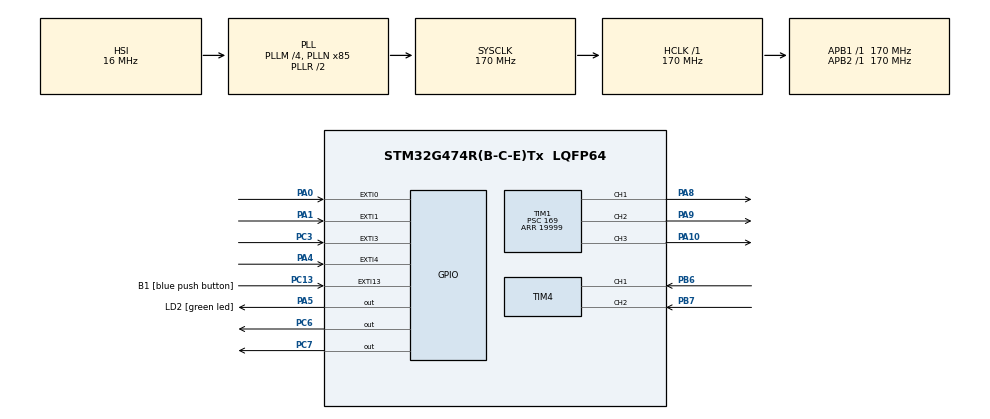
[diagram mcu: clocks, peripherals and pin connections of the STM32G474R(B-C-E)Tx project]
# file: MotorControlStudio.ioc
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ARM.CMSIS-DSP.1.15.0.CMSISJjDSP=Source
ARM.CMSIS.6.0.0.CMSISJjCORE=true
Mcu.Family=STM32G4
Mcu.Name=STM32G474R(B-C-E)Tx
Mcu.Package=LQFP64
NVIC.EXTI15_10_IRQn=true\:0\:0\:false\:false\:true\:true\:true\:true
NVIC.PriorityGroup=NVIC_PRIORITYGROUP_4
NVIC.TIM2_IRQn=true\:0\:0\:false\:false\:true\:true\:true\:true
NVIC.TIM4_IRQn=true\:0\:0\:false\:false\:true\:true\:true\:true
NVIC.TIM5_IRQn=true\:0\:0\:false\:false\:true\:true\:true\:true
PA0.Signal=GPXTI0
PA1.Signal=GPXTI1
PA10.Signal=S_TIM1_CH3
PA13.GPIO_Label=T_SWDIO
PA13.Signal=SYS_JTMS-SWDIO
PA14.GPIO_Label=T_SWCLK
PA14.Signal=SYS_JTCK-SWCLK
PA2.GPIO_Label=LPUART1_TX [STLINKV3E_VCP_RX]
PA2.Signal=LPUART1_TX
PA3.GPIO_Label=LPUART1_RX [STLINKV3E_VCP_TX]
PA3.Signal=LPUART1_RX
PA4.Signal=GPXTI4
PA5.GPIO_Label=LD2 [green led]
PA5.Signal=GPIO_Output
PA8.Signal=S_TIM1_CH1
PA9.Signal=S_TIM1_CH2
PB3.GPIO_Label=T_SWO
PB3.Signal=SYS_JTDO-SWO
PB6.Signal=S_TIM4_CH1
PB7.Signal=S_TIM4_CH2
PC13.GPIO_Label=B1 [blue push button]
PC13.Signal=GPXTI13
PC14-OSC32_IN.GPIO_Label=RCC_OSC32_IN
PC14-OSC32_IN.Signal=RCC_OSC32_IN
PC15-OSC32_OUT.GPIO_Label=RCC_OSC32_OUT
PC15-OSC32_OUT.Signal=RCC_OSC32_OUT
PC3.Signal=GPXTI3
PC6.Signal=GPIO_Output
PC7.Signal=GPIO_Output
PF0-OSC_IN.GPIO_Label=RCC_OSC_IN
PF0-OSC_IN.Signal=RCC_OSC_IN
PF1-OSC_OUT.GPIO_Label=RCC_OSC_OUT
PF1-OSC_OUT.Signal=RCC_OSC_OUT
ProjectManager.HeapSize=0x200
ProjectManager.StackSize=0x400
ProjectManager.TargetToolchain=STM32CubeIDE
RCC.ADC12Freq_Value=170000000
RCC.ADC345Freq_Value=170000000
RCC.AHBFreq_Value=170000000
RCC.APB1Freq_Value=170000000
RCC.APB1TimFreq_Value=170000000
RCC.APB2Freq_Value=170000000
RCC.APB2TimFreq_Value=170000000
RCC.CortexFreq_Value=170000000
RCC.EXTERNAL_CLOCK_VALUE=12288000
RCC.HCLKFreq_Value=170000000
RCC.HSE_VALUE=24000000
RCC.HSI48_VALUE=48000000
RCC.HSI_VALUE=16000000
RCC.LSE_VALUE=32768
RCC.PLLM=RCC_PLLM_DIV4
RCC.PLLN=85
RCC.RTCClockSelection=RCC_RTCCLKSOURCE_LSE
RCC.SYSCLKFreq_VALUE=170000000
RCC.SYSCLKSource=RCC_SYSCLKSOURCE_PLLCLK
RCC.USBFreq_Value=170000000
RCC.VCOOutputFreq_Value=340000000
SH.S_TIM1_CH1.0=TIM1_CH1,PWM Generation1 CH1
SH.S_TIM1_CH2.0=TIM1_CH2,PWM Generation2 CH2
SH.S_TIM1_CH3.0=TIM1_CH3,PWM Generation3 CH3
SH.S_TIM4_CH1.0=TIM4_CH1,Encoder_Interface
SH.S_TIM4_CH2.0=TIM4_CH2,Encoder_Interface
TIM1.Channel-PWM\ Generation1\ CH1=TIM_CHANNEL_1
TIM1.Channel-PWM\ Generation2\ CH2=TIM_CHANNEL_2
TIM1.Channel-PWM\ Generation3\ CH3=TIM_CHANNEL_3
TIM1.PeriodNoDither=19999
TIM1.Prescaler=169
TIM2.PeriodNoDither=999
TIM2.Prescaler=169
TIM4.EncoderMode=TIM_ENCODERMODE_TI12
TIM5.Prescaler=169
VP_ARM.CMSIS-DSP_VS_CMSISJjDSP_1.15.0_1.15.0.Mode=CMSISJjDSP
VP_ARM.CMSIS_VS_CMSISJjCORE_6.0.0_6.0.0.Mode=CMSISJjCORE
VP_SYS_VS_DBSignals.Mode=DisableDeadBatterySignals
VP_TIM1_VS_ClockSourceINT.Mode=Internal
VP_TIM2_VS_ClockSourceINT.Mode=Internal
VP_TIM5_VS_ClockSourceINT.Mode=Internal
board=NUCLEO-G474RE

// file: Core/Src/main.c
/* USER CODE BEGIN Header */
/**
 ******************************************************************************
 * @file           : main.c
 * @brief          : Main program body
 ******************************************************************************
 * @attention
 *
 * Copyright (c) 2025 STMicroelectronics.
 * All rights reserved.
 *
 * This software is licensed under terms that can be found in the LICENSE file
 * in the root directory of this software component.
 * If no LICENSE file comes with this software, it is provided AS-IS.
 *
 ******************************************************************************
 */
/* USER CODE END Header */
#include "main.h"

/* USER CODE BEGIN Includes */
#include "motor.h"
#include "arm_math.h"
#include "QEI.h"
#include "PID.h"
#include "Kalman.h"
/* USER CODE END Includes */

TIM_HandleTypeDef htim1;
TIM_HandleTypeDef htim2;
TIM_HandleTypeDef htim4;
TIM_HandleTypeDef htim5;

/* USER CODE BEGIN PV */
MOTOR prismatic_motor;
MOTOR revolute_motor;

float target_position = 0.0; // [rad/s] ตัวอย่างค่าที่เราต้องการ

// PID_Velocity gain
float Kp_velo = 75.0;
float Ki_velo = 7.0;
float Kd_velo = 0.0;
float output_velo = 0.00;
float error_velo = 0.00;

// PID_Position gain
float Kp_pos = 8.0;
float Ki_pos = 0.001;
float Kd_pos = 2.5;
float output_pos = 0.00;
float error_pos = 0.00;
//PID_Position CMSIS
arm_pid_instance_f32 PID_POS = { 0 };

int32_t setpoint = 0;

QEI prismatic_encoder;
CONTROLLER prismatic_pos_control;
CONTROLLER prismatic_vel_control;
KALMAN prismatic_kalman;

float32_t A_f32[16] = { 1.0, 0.001, -0.0453, -0.0001, 0.0, 0.9740, -90.2495,
		0.0587, 0.0, 0.0, 1.0, 0.0, 0.0, -0.02, 1.7666, -0.0012 };

float32_t B_f32[4] = { 0.0003, 0.6895, 0.0, 0.5453 };

double kalman_rads;
double kalman_radps;

float Q = 1.0;
float R = 0.001;
float motor_voltage = 0.0;
float error_rads = 0.0;
/* USER CODE END PV */

void SystemClock_Config(void);
static void MX_GPIO_Init(void);
static void MX_TIM4_Init(void);
static void MX_TIM5_Init(void);
static void MX_TIM1_Init(void);
static void MX_TIM2_Init(void);
/* USER CODE BEGIN PFP */
//uint64_t micros();
//void QEIEncoderPosVel_Update();
//void CasCadeControl();
/* USER CODE END PFP */

int main(void)
{

  /* MCU Configuration--------------------------------------------------------*/

  /* Reset of all peripherals, Initializes the Flash interface and the Systick. */
  HAL_Init();

  /* Configure the system clock */
  SystemClock_Config();

  /* Initialize all configured peripherals */
  MX_GPIO_Init();
  MX_TIM4_Init();
  MX_TIM5_Init();
  MX_TIM1_Init();
  MX_TIM2_Init();
  /* USER CODE BEGIN 2 */
	PID_POS.Kp = Kp_pos;
	PID_POS.Ki = Ki_pos;
	PID_POS.Kd = Kd_pos;
	arm_pid_init_f32(&PID_POS, 0);

	MotorInit(&prismatic_motor, &htim1, TIM_CHANNEL_3, GPIOC, GPIO_PIN_7);
	MotorInit(&revolute_motor, &htim1, TIM_CHANNEL_2, GPIOC, GPIO_PIN_6);

	QEIInit(&prismatic_encoder, &htim4, 8192, 1000, 65536);
//	QEIInit(&revolute_motor, &htim3, 8192, 1000, 65536);

	PIDInit(&prismatic_pos_control, 340, -340);
	PIDInit(&prismatic_vel_control, 65535, -65535);

	KalmanInit(&prismatic_kalman, A_f32, B_f32, Q, R);

	HAL_TIM_Base_Start_IT(&htim5);

	HAL_TIM_Base_Start_IT(&htim2);

  /* USER CODE END 2 */

  /* Infinite loop */
	while (1) {

	}
}

void SystemClock_Config(void)
{
  RCC_OscInitTypeDef RCC_OscInitStruct = {0};
  RCC_ClkInitTypeDef RCC_ClkInitStruct = {0};

  /** Configure the main internal regulator output voltage
  */
  HAL_PWREx_ControlVoltageScaling(PWR_REGULATOR_VOLTAGE_SCALE1_BOOST);

  /** Initializes the RCC Oscillators according to the specified parameters
  * in the RCC_OscInitTypeDef structure.
  */
  RCC_OscInitStruct.OscillatorType = RCC_OSCILLATORTYPE_HSI;
  RCC_OscInitStruct.HSIState = RCC_HSI_ON;
  RCC_OscInitStruct.HSICalibrationValue = RCC_HSICALIBRATION_DEFAULT;
  RCC_OscInitStruct.PLL.PLLState = RCC_PLL_ON;
  RCC_OscInitStruct.PLL.PLLSource = RCC_PLLSOURCE_HSI;
  RCC_OscInitStruct.PLL.PLLM = RCC_PLLM_DIV4;
  RCC_OscInitStruct.PLL.PLLN = 85;
  RCC_OscInitStruct.PLL.PLLP = RCC_PLLP_DIV2;
  RCC_OscInitStruct.PLL.PLLQ = RCC_PLLQ_DIV2;
  RCC_OscInitStruct.PLL.PLLR = RCC_PLLR_DIV2;
  if (HAL_RCC_OscConfig(&RCC_OscInitStruct) != HAL_OK)
  {
    Error_Handler();
  }

  /** Initializes the CPU, AHB and APB buses clocks
  */
  RCC_ClkInitStruct.ClockType = RCC_CLOCKTYPE_HCLK|RCC_CLOCKTYPE_SYSCLK
                              |RCC_CLOCKTYPE_PCLK1|RCC_CLOCKTYPE_PCLK2;
  RCC_ClkInitStruct.SYSCLKSource = RCC_SYSCLKSOURCE_PLLCLK;
  RCC_ClkInitStruct.AHBCLKDivider = RCC_SYSCLK_DIV1;
  RCC_ClkInitStruct.APB1CLKDivider = RCC_HCLK_DIV1;
  RCC_ClkInitStruct.APB2CLKDivider = RCC_HCLK_DIV1;

  if (HAL_RCC_ClockConfig(&RCC_ClkInitStruct, FLASH_LATENCY_4) != HAL_OK)
  {
    Error_Handler();
  }
}

static void MX_TIM1_Init(void)
{

  TIM_ClockConfigTypeDef sClockSourceConfig = {0};
  TIM_MasterConfigTypeDef sMasterConfig = {0};
  TIM_OC_InitTypeDef sConfigOC = {0};
  TIM_BreakDeadTimeConfigTypeDef sBreakDeadTimeConfig = {0};

  htim1.Instance = TIM1;
  htim1.Init.Prescaler = 169;
  htim1.Init.CounterMode = TIM_COUNTERMODE_UP;
  htim1.Init.Period = 19999;
  htim1.Init.ClockDivision = TIM_CLOCKDIVISION_DIV1;
  htim1.Init.RepetitionCounter = 0;
  htim1.Init.AutoReloadPreload = TIM_AUTORELOAD_PRELOAD_DISABLE;
  if (HAL_TIM_Base_Init(&htim1) != HAL_OK)
  {
    Error_Handler();
  }
  sClockSourceConfig.ClockSource = TIM_CLOCKSOURCE_INTERNAL;
  if (HAL_TIM_ConfigClockSource(&htim1, &sClockSourceConfig) != HAL_OK)
  {
    Error_Handler();
  }
  if (HAL_TIM_PWM_Init(&htim1) != HAL_OK)
  {
    Error_Handler();
  }
  sMasterConfig.MasterOutputTrigger = TIM_TRGO_RESET;
  sMasterConfig.MasterOutputTrigger2 = TIM_TRGO2_RESET;
  sMasterConfig.MasterSlaveMode = TIM_MASTERSLAVEMODE_DISABLE;
  if (HAL_TIMEx_MasterConfigSynchronization(&htim1, &sMasterConfig) != HAL_OK)
  {
    Error_Handler();
  }
  sConfigOC.OCMode = TIM_OCMODE_PWM1;
  sConfigOC.Pulse = 0;
  sConfigOC.OCPolarity = TIM_OCPOLARITY_HIGH;
  sConfigOC.OCNPolarity = TIM_OCNPOLARITY_HIGH;
  sConfigOC.OCFastMode = TIM_OCFAST_DISABLE;
  sConfigOC.OCIdleState = TIM_OCIDLESTATE_RESET;
  sConfigOC.OCNIdleState = TIM_OCNIDLESTATE_RESET;
  if (HAL_TIM_PWM_ConfigChannel(&htim1, &sConfigOC, TIM_CHANNEL_1) != HAL_OK)
  {
    Error_Handler();
  }
  if (HAL_TIM_PWM_ConfigChannel(&htim1, &sConfigOC, TIM_CHANNEL_2) != HAL_OK)
  {
    Error_Handler();
  }
  if (HAL_TIM_PWM_ConfigChannel(&htim1, &sConfigOC, TIM_CHANNEL_3) != HAL_OK)
  {
    Error_Handler();
  }
  sBreakDeadTimeConfig.OffStateRunMode = TIM_OSSR_DISABLE;
  sBreakDeadTimeConfig.OffStateIDLEMode = TIM_OSSI_DISABLE;
  sBreakDeadTimeConfig.LockLevel = TIM_LOCKLEVEL_OFF;
  sBreakDeadTimeConfig.DeadTime = 0;
  sBreakDeadTimeConfig.BreakState = TIM_BREAK_DISABLE;
  sBreakDeadTimeConfig.BreakPolarity = TIM_BREAKPOLARITY_HIGH;
  sBreakDeadTimeConfig.BreakFilter = 0;
  sBreakDeadTimeConfig.BreakAFMode = TIM_BREAK_AFMODE_INPUT;
  sBreakDeadTimeConfig.Break2State = TIM_BREAK2_DISABLE;
  sBreakDeadTimeConfig.Break2Polarity = TIM_BREAK2POLARITY_HIGH;
  sBreakDeadTimeConfig.Break2Filter = 0;
  sBreakDeadTimeConfig.Break2AFMode = TIM_BREAK_AFMODE_INPUT;
  sBreakDeadTimeConfig.AutomaticOutput = TIM_AUTOMATICOUTPUT_DISABLE;
  if (HAL_TIMEx_ConfigBreakDeadTime(&htim1, &sBreakDeadTimeConfig) != HAL_OK)
  {
    Error_Handler();
  }
  HAL_TIM_MspPostInit(&htim1);

}

static void MX_TIM2_Init(void)
{

  TIM_ClockConfigTypeDef sClockSourceConfig = {0};
  TIM_MasterConfigTypeDef sMasterConfig = {0};

  htim2.Instance = TIM2;
  htim2.Init.Prescaler = 169;
  htim2.Init.CounterMode = TIM_COUNTERMODE_UP;
  htim2.Init.Period = 999;
  htim2.Init.ClockDivision = TIM_CLOCKDIVISION_DIV1;
  htim2.Init.AutoReloadPreload = TIM_AUTORELOAD_PRELOAD_DISABLE;
  if (HAL_TIM_Base_Init(&htim2) != HAL_OK)
  {
    Error_Handler();
  }
  sClockSourceConfig.ClockSource = TIM_CLOCKSOURCE_INTERNAL;
  if (HAL_TIM_ConfigClockSource(&htim2, &sClockSourceConfig) != HAL_OK)
  {
    Error_Handler();
  }
  sMasterConfig.MasterOutputTrigger = TIM_TRGO_RESET;
  sMasterConfig.MasterSlaveMode = TIM_MASTERSLAVEMODE_DISABLE;
  if (HAL_TIMEx_MasterConfigSynchronization(&htim2, &sMasterConfig) != HAL_OK)
  {
    Error_Handler();
  }

}

static void MX_TIM4_Init(void)
{

  TIM_Encoder_InitTypeDef sConfig = {0};
  TIM_MasterConfigTypeDef sMasterConfig = {0};

  htim4.Instance = TIM4;
  htim4.Init.Prescaler = 0;
  htim4.Init.CounterMode = TIM_COUNTERMODE_UP;
  htim4.Init.Period = 65535;
  htim4.Init.ClockDivision = TIM_CLOCKDIVISION_DIV1;
  htim4.Init.AutoReloadPreload = TIM_AUTORELOAD_PRELOAD_DISABLE;
  sConfig.EncoderMode = TIM_ENCODERMODE_TI12;
  sConfig.IC1Polarity = TIM_ICPOLARITY_RISING;
  sConfig.IC1Selection = TIM_ICSELECTION_DIRECTTI;
  sConfig.IC1Prescaler = TIM_ICPSC_DIV1;
  sConfig.IC1Filter = 0;
  sConfig.IC2Polarity = TIM_ICPOLARITY_RISING;
  sConfig.IC2Selection = TIM_ICSELECTION_DIRECTTI;
  sConfig.IC2Prescaler = TIM_ICPSC_DIV1;
  sConfig.IC2Filter = 0;
  if (HAL_TIM_Encoder_Init(&htim4, &sConfig) != HAL_OK)
  {
    Error_Handler();
  }
  sMasterConfig.MasterOutputTrigger = TIM_TRGO_RESET;
  sMasterConfig.MasterSlaveMode = TIM_MASTERSLAVEMODE_DISABLE;
  if (HAL_TIMEx_MasterConfigSynchronization(&htim4, &sMasterConfig) != HAL_OK)
  {
    Error_Handler();
  }

}

static void MX_TIM5_Init(void)
{

  TIM_ClockConfigTypeDef sClockSourceConfig = {0};
  TIM_MasterConfigTypeDef sMasterConfig = {0};

  htim5.Instance = TIM5;
  htim5.Init.Prescaler = 169;
  htim5.Init.CounterMode = TIM_COUNTERMODE_UP;
  htim5.Init.Period = 4294967295;
  htim5.Init.ClockDivision = TIM_CLOCKDIVISION_DIV1;
  htim5.Init.AutoReloadPreload = TIM_AUTORELOAD_PRELOAD_DISABLE;
  if (HAL_TIM_Base_Init(&htim5) != HAL_OK)
  {
    Error_Handler();
  }
  sClockSourceConfig.ClockSource = TIM_CLOCKSOURCE_INTERNAL;
  if (HAL_TIM_ConfigClockSource(&htim5, &sClockSourceConfig) != HAL_OK)
  {
    Error_Handler();
  }
  sMasterConfig.MasterOutputTrigger = TIM_TRGO_RESET;
  sMasterConfig.MasterSlaveMode = TIM_MASTERSLAVEMODE_DISABLE;
  if (HAL_TIMEx_MasterConfigSynchronization(&htim5, &sMasterConfig) != HAL_OK)
  {
    Error_Handler();
  }

}

static void MX_GPIO_Init(void)
{
  GPIO_InitTypeDef GPIO_InitStruct = {0};

  /* GPIO Ports Clock Enable */
  __HAL_RCC_GPIOC_CLK_ENABLE();
  __HAL_RCC_GPIOF_CLK_ENABLE();
  __HAL_RCC_GPIOA_CLK_ENABLE();
  __HAL_RCC_GPIOB_CLK_ENABLE();

  /*Configure GPIO pin Output Level */
  HAL_GPIO_WritePin(LD2_GPIO_Port, LD2_Pin, GPIO_PIN_RESET);

  /*Configure GPIO pin Output Level */
  HAL_GPIO_WritePin(GPIOC, GPIO_PIN_6|GPIO_PIN_7, GPIO_PIN_RESET);

  /*Configure GPIO pins : B1_Pin PC3 */
  GPIO_InitStruct.Pin = B1_Pin|GPIO_PIN_3;
  GPIO_InitStruct.Mode = GPIO_MODE_IT_RISING;
  GPIO_InitStruct.Pull = GPIO_NOPULL;
  HAL_GPIO_Init(GPIOC, &GPIO_InitStruct);

  /*Configure GPIO pins : PA0 PA1 PA4 */
  GPIO_InitStruct.Pin = GPIO_PIN_0|GPIO_PIN_1|GPIO_PIN_4;
  GPIO_InitStruct.Mode = GPIO_MODE_IT_RISING;
  GPIO_InitStruct.Pull = GPIO_NOPULL;
  HAL_GPIO_Init(GPIOA, &GPIO_InitStruct);

  /*Configure GPIO pins : LPUART1_TX_Pin LPUART1_RX_Pin */
  GPIO_InitStruct.Pin = LPUART1_TX_Pin|LPUART1_RX_Pin;
  GPIO_InitStruct.Mode = GPIO_MODE_AF_PP;
  GPIO_InitStruct.Pull = GPIO_NOPULL;
  GPIO_InitStruct.Speed = GPIO_SPEED_FREQ_LOW;
  GPIO_InitStruct.Alternate = GPIO_AF12_LPUART1;
  HAL_GPIO_Init(GPIOA, &GPIO_InitStruct);

  /*Configure GPIO pin : LD2_Pin */
  GPIO_InitStruct.Pin = LD2_Pin;
  GPIO_InitStruct.Mode = GPIO_MODE_OUTPUT_PP;
  GPIO_InitStruct.Pull = GPIO_NOPULL;
  GPIO_InitStruct.Speed = GPIO_SPEED_FREQ_LOW;
  HAL_GPIO_Init(LD2_GPIO_Port, &GPIO_InitStruct);

  /*Configure GPIO pins : PC6 PC7 */
  GPIO_InitStruct.Pin = GPIO_PIN_6|GPIO_PIN_7;
  GPIO_InitStruct.Mode = GPIO_MODE_OUTPUT_PP;
  GPIO_InitStruct.Pull = GPIO_NOPULL;
  GPIO_InitStruct.Speed = GPIO_SPEED_FREQ_LOW;
  HAL_GPIO_Init(GPIOC, &GPIO_InitStruct);

  /* EXTI interrupt init*/
  HAL_NVIC_SetPriority(EXTI15_10_IRQn, 0, 0);
  HAL_NVIC_EnableIRQ(EXTI15_10_IRQn);

}

/* USER CODE BEGIN 4 */
void Prismatic_CasCadeControl() {
	error_pos = target_position - kalman_rads;

	output_pos = arm_pid_f32(&PID_POS, error_pos);

	if (output_pos > 340) {
		output_pos = 340;
	} else if (output_pos < -340) {
		output_pos = -340;
	}

	error_velo = output_pos - kalman_radps;

	output_velo = PIDCompute(&prismatic_vel_control, Kp_velo, Ki_velo, Kd_velo,
			error_velo);

	KalmanUpdate(&prismatic_kalman, prismatic_encoder.meter);
	KalmanPrediction(&prismatic_kalman, (output_velo / 65535.0) * 12);

	kalman_rads = prismatic_kalman.X_pred.pData[0];
	kalman_radps = prismatic_kalman.X_pred.pData[1];

	// Motor control
	MotorSet(&prismatic_motor, 1000, output_velo);
}

void HAL_TIM_PeriodElapsedCallback(TIM_HandleTypeDef *htim) {

	if (htim == &htim2) {
//		MotorSet(&prismatic_motor, 1000, 65535);
		QEIPosVelUpdate(&prismatic_encoder);
		Prismatic_CasCadeControl();

		error_rads = prismatic_encoder.rads - prismatic_kalman.X_pred.pData[0];

	}

}

//uint64_t micros() {
//	return __HAL_TIM_GET_COUNTER(&htim5) + _micros;
//}

//void QEIEncoderPosVel_Update() {
//	QEIdata.TimeStamp[NEW] = micros();
//	QEIdata.Position[NEW] = __HAL_TIM_GET_COUNTER(&htim4);
//	QEIdata.QEIPostion_1turn = (QEIdata.Position[NEW] / 8192) * 16.00;
//	int32_t diffPosition = QEIdata.Position[NEW] - QEIdata.Position[OLD];
//	if (diffPosition > (65536 / 2))
//		diffPosition -= 65535;
//	else if (diffPosition < -(65536 / 2))
//		diffPosition += 65535;
//	float diffTime = (QEIdata.TimeStamp[NEW] - QEIdata.TimeStamp[OLD])
//			* 0.000001;
//	if (diffTime == 0)
//		return;
//	QEIdata.QEIAngularVelocity = (float) (diffPosition / diffTime) * ((2.0*M_PI)/8192.0);
//
//	QEIdata.QEIPosition_tick += diffPosition;
//	QEIdata.QEIPosition_rad = QEIdata.QEIPosition_tick * ((2.0*M_PI)/8192.0);
//
//
//	QEIdata.pulses += diffPosition;
//	QEIdata.revs += diffPosition/(float)(8192.0);
//	QEIdata.rads += diffPosition/(float)(8192.0)*2*M_PI;
//
//	QEIdata.Position[OLD] = QEIdata.Position[NEW];
//	QEIdata.TimeStamp[OLD] = QEIdata.TimeStamp[NEW];
//
//	QEIdata.pps = diffPosition*1000;
//	QEIdata.rpm = (float)QEIdata.pps*60.0/8192.0;
//	QEIdata.radps = (float)QEIdata.pps*2*M_PI/8192.0;
//
//
//
//}
/* USER CODE END 4 */

void Error_Handler(void)
{
	__disable_irq();
	while (1) {
	}
}
